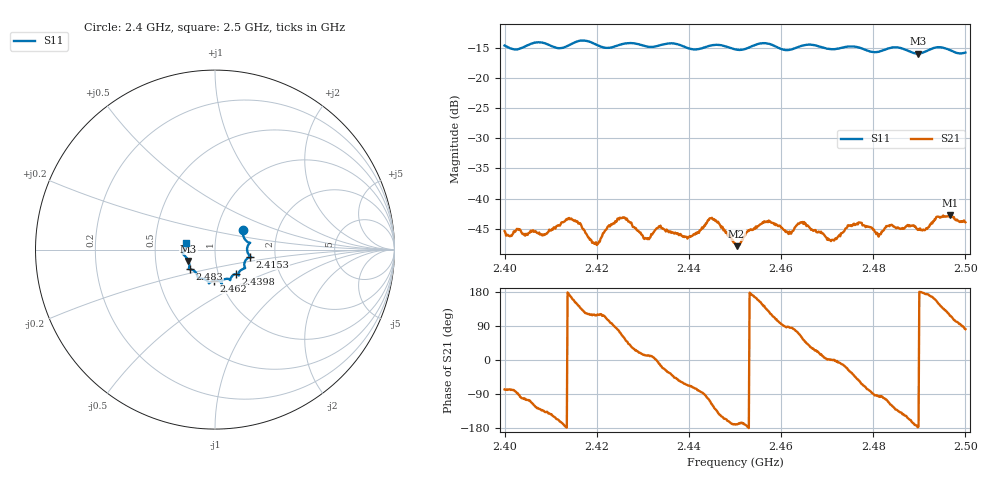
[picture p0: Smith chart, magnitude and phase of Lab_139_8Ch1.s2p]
# Hz S RI R 50
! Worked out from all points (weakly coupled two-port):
!   601 points, 2.4 GHz to 2.5 GHz, reference 50 ohm
!   highest |S21| = -42.81 dB at 2.4967 GHz (marker M1); lowest = -47.9 dB at 2.4503 GHz (marker M2)
!   lowest |S11| = -15.9 dB at 2.4897 GHz (marker M3), VSWR 1.38, Z = 36.9 - j4.81 ohm
!   |S11| at or under -10 dB: start of sweep to end of sweep
!   S12 and S22 are empty: the file has one direction only
!   S11 on the Smith chart (normalised r, x): 2.4 GHz: 1.33, +0.29; 2.4153 GHz: 1.48, -0.12; 2.4398 GHz: 1.21, -0.34; 2.462 GHz: 0.93, -0.33; 2.483 GHz: 0.74, -0.17; 2.5 GHz: 0.72, +0.06
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2.4e9  0.1548 0.1066  0.00115 -0.00523  0 0  0 0
2.415333e9  0.1967 -0.0385  -0.00577 0.00316  0 0  0 0
2.416667e9  0.2023 -0.0426  -0.00418 0.00419  0 0  0 0
2.419833e9  0.1863 -0.0452  -0.00205 0.0038  0 0  0 0
2.4255e9  0.1659 -0.0988  0.00293 0.00622  0 0  0 0
2.430667e9  0.1462 -0.1135  0.00458 0.000976  0 0  0 0
2.433333e9  0.131 -0.1336  0.0057 -0.000553  0 0  0 0
2.439833e9  0.1152 -0.1362  0.00181 -0.00437  0 0  0 0
2.445e9  0.0846 -0.1686  -0.00313 -0.00616  0 0  0 0
2.45e9  0.0646 -0.1624  -0.00418 -0.000748  0 0  0 0
2.450333e9  0.0609 -0.1626  -0.00394 -0.000746  0 0  0 0
2.456833e9  0.039 -0.1921  -0.00443 0.00458  0 0  0 0
2.462e9  -0.00497 -0.1732  0.000416 0.00514  0 0  0 0
2.466667e9  -0.0341 -0.1876  0.00469 0.00291  0 0  0 0
2.471e9  -0.0584 -0.165  0.00452 4.41e-05  0 0  0 0
2.477e9  -0.0958 -0.1528  0.00357 -0.00521  0 0  0 0
2.481167e9  -0.1206 -0.1149  -0.000509 -0.00479  0 0  0 0
2.483e9  -0.1376 -0.1097  -0.0017 -0.00562  0 0  0 0
2.483333e9  -0.1401 -0.1096  -0.00219 -0.00553  0 0  0 0
2.489667e9  -0.1477 -0.0636  -0.00547 -0.000218  0 0  0 0
2.496667e9  -0.1718 -0.00986  -0.00323 0.00647  0 0  0 0
2.5e9  -0.1596 0.0394  0.000967 0.00627  0 0  0 0
